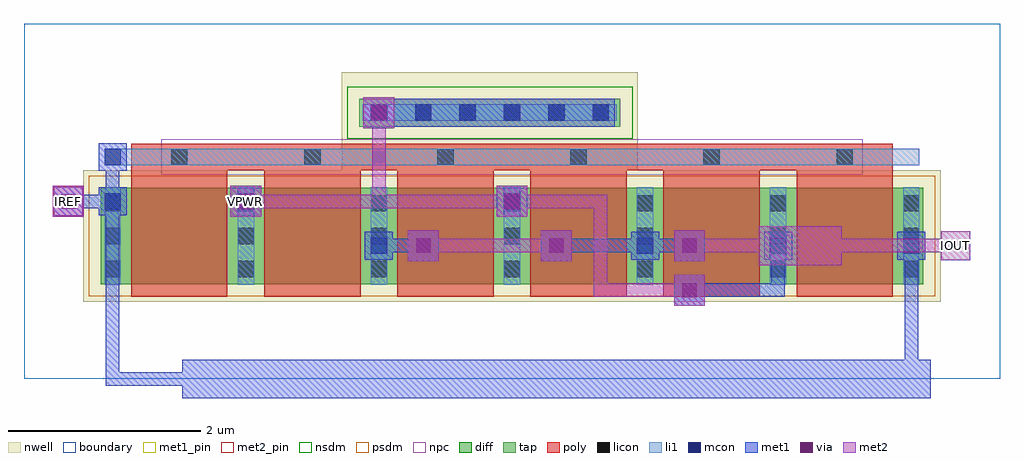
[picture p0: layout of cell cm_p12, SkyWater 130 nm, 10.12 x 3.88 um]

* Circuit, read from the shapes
.subckt cm_p12 IOUT IREF VPWR
XM1 VPWR IREF IREF VPWR sky130_fd_pr__pfet_01v8 w=1 l=1 m=2
XM2 IOUT IREF VPWR VPWR sky130_fd_pr__pfet_01v8 w=1 l=1 m=4
.ends

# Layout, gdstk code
import gdstk
lib = gdstk.Library(unit=1e-6, precision=1e-09)
def R(c, l, rs):  # rectangles x0, y0, x1, y1
    for r in rs: c.add(gdstk.rectangle(r[:2], r[2:], *l))
def A(c, l, x, y, w, h, nx, ny, dx, dy):  # array of equal rectangles
    R(c, l, [(x+i*dx, y+j*dy, x+i*dx+w, y+j*dy+h) for i in range(nx) for j in range(ny)])
nwell = (64, 20)
diff = (65, 20)
tap = (65, 44)
poly = (66, 20)
licon = (66, 44)
li1 = (67, 20)
mcon = (67, 44)
met1_pin = (68, 16)
met1 = (68, 20)
via = (68, 44)
met2_pin = (69, 16)
met2 = (69, 20)
nsdm = (93, 44)
psdm = (94, 20)
npc = (95, 20)
boundary = (235, 4)

cm_p12 = lib.new_cell('cm_p12')
R(cm_p12, nwell, [(0.615,0.8,9.505,2.16), (3.295,2.16,6.365,3.18)])
R(cm_p12, diff, [(0.795,0.98,9.325,1.98)])
R(cm_p12, tap, [(3.475,2.615,6.185,2.905)])
A(cm_p12, poly, 1.11, 0.85, 1, 1.45, 6, 1, 1.38, 0)
R(cm_p12, poly, [(1.11,2.165,9.01,2.435)])
A(cm_p12, licon, 0.835, 1.055, 0.17, 0.17, 7, 3, 1.38, 0.34)
A(cm_p12, licon, 1.525, 2.215, 0.17, 0.17, 6, 1, 1.38, 0)
A(cm_p12, licon, 3.595, 2.675, 0.17, 0.17, 6, 1, 0.46, 0)
A(cm_p12, li1, 0.835, 0.975, 0.17, 1.01, 7, 1, 1.38, 0)
R(cm_p12, li1, [(0.835,2.215,9.285,2.385), (3.515,2.675,6.145,2.845)])
A(cm_p12, mcon, 6.355, 1.295, 0.17, 0.17, 3, 1, 1.38, 0)
A(cm_p12, mcon, 3.595, 2.675, 0.17, 0.17, 6, 1, 0.46, 0)
R(cm_p12, mcon, [(3.595,1.295,3.765,1.465), (0.835,1.755,1.005,1.925), (2.215,1.755,2.385,1.925), (4.975,1.755,5.145,1.925), (0.835,2.215,1.005,2.385)])
R(cm_p12, met1_pin, [(2.155,1.695,2.445,1.985)])
A(cm_p12, met1, 3.98, 1.22, 0.32, 0.32, 3, 1, 1.38, 0)
A(cm_p12, met1, 6.295, 1.235, 0.29, 0.29, 3, 1, 1.38, 0)
R(cm_p12, met1, [(1.64,-0.2,9.4,0.2), (0.85,-0.07,0.99,1.91), (0.85,-0.07,1.91,0.07), (9.13,-0.07,9.27,1.45), (6.74,0.76,7.06,1.08), (6.83,0.85,7.89,0.99), (7.75,0.85,7.89,1.45), (3.535,1.235,3.825,1.525), (3.61,1.31,4.21,1.45), (5.45,1.31,6.51,1.45), (6.37,1.31,6.97,1.45), (0.3,1.68,0.62,2), (2.14,1.68,2.46,2), (4.9,1.68,5.22,2), (0.775,1.695,1.065,1.985), (2.155,1.695,2.445,1.985), (4.915,1.695,5.205,1.985), (0.39,1.77,0.99,1.91), (0.85,1.77,0.99,2.37), (0.775,2.155,1.065,2.445), (3.52,2.6,3.84,2.92), (3.535,2.615,6.125,2.905), (3.61,2.69,3.75,2.83)])
A(cm_p12, via, 4.065, 1.305, 0.15, 0.15, 3, 1, 1.38, 0)
R(cm_p12, via, [(6.825,0.845,6.975,0.995), (0.385,1.765,0.535,1.915), (2.225,1.765,2.375,1.915), (4.985,1.765,5.135,1.915), (3.605,2.685,3.755,2.835)])
R(cm_p12, met2_pin, [(9.51,1.23,9.81,1.53), (0.31,1.69,0.61,1.99)])
A(cm_p12, met2, 3.98, 1.22, 0.32, 0.32, 3, 1, 1.38, 0)
R(cm_p12, met2, [(6.74,0.76,7.06,1.08), (5.91,0.85,6.97,0.99), (5.91,0.85,6.05,1.91), (7.62,1.18,8.48,1.58), (9.51,1.23,9.81,1.53), (4.07,1.31,5.59,1.45), (6.83,1.31,7.89,1.45), (8.21,1.31,9.73,1.45), (9.59,1.31,9.73,1.45), (0.3,1.68,0.62,2), (2.14,1.68,2.46,2), (4.9,1.68,5.22,2), (0.31,1.69,0.61,1.99), (0.39,1.77,0.53,1.91), (2.23,1.77,3.75,1.91), (3.61,1.77,5.13,1.91), (3.61,1.77,3.75,2.83), (4.99,1.77,6.05,1.91), (3.52,2.6,3.84,2.92)])
R(cm_p12, nsdm, [(3.35,2.49,6.31,3.03)])
R(cm_p12, psdm, [(0.67,0.855,9.45,2.105)])
R(cm_p12, npc, [(1.425,2.115,8.695,2.485)])
R(cm_p12, boundary, [(0,0,10.12,3.68)])
cm_p12.add(gdstk.Label('VPWR', (2.3,1.84), layer=68, texttype=5))
cm_p12.add(gdstk.Label('IREF', (0.46,1.84), layer=69, texttype=5))
cm_p12.add(gdstk.Label('IOUT', (9.66,1.38), layer=69, texttype=5))
cm_p12.add(gdstk.Label('VPWR', (2.3,1.84), layer=68, texttype=16))
cm_p12.add(gdstk.Label('IREF', (0.46,1.84), layer=69, texttype=16))
cm_p12.add(gdstk.Label('IOUT', (9.66,1.38), layer=69, texttype=16))

lib.write_gds('cm_p12.gds')
